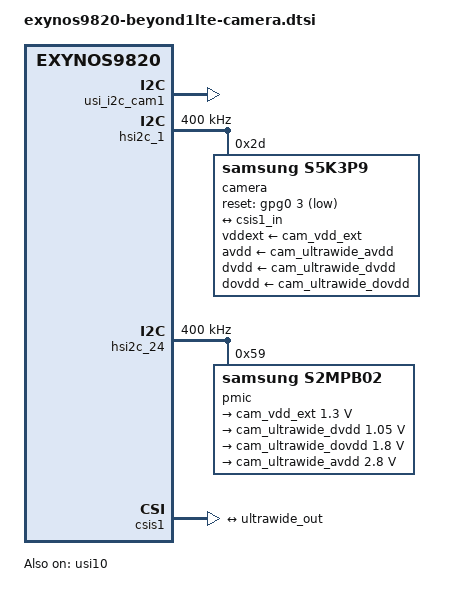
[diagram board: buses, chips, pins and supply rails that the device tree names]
// SPDX-License-Identifier: GPL-2.0
/*
 * Galaxy S10 cameras: NOT INCLUDED, the boot hangs with this (CAMERA.md,
 * "Paused"). To try again, include it at the end of exynos9820-beyond1lte.dts
 * and boot from RAM only (scripts/fastboot-boot.sh), never from /boot/ztos.
 */

#include "exynos9820-camera.dtsi"

/*
 * Cameras, step 2 of CAMERA.md: the rear ultrawide only. Every value below
 * was checked against all revisions of this phone's stock dtbo (bus hsi2c_1
 * at 0x2d, MCLK channel 3 on gpc1-7, reset gpg0-3, S2MPB02 at 0x59 on
 * hsi2c_24, and the four rails with their voltages); they are the S10e's.
 * Of the S2MPB02 only these four rails are described, so the others keep
 * what S-Boot set.
 */
&usi_i2c_cam1 {
	samsung,mode = <USI_MODE_I2C>;
	status = "okay";
};

&hsi2c_1 {
	clock-frequency = <400000>;
	pinctrl-names = "default";
	pinctrl-0 = <&hsi2c1_bus>;
	status = "okay";

	camera@2d {
		compatible = "samsung,s5k3p9";
		reg = <0x2d>;
		pinctrl-names = "default";
		pinctrl-0 = <&cam_mclk3>;
		clocks = <&cmu_top CLK_DOUT_CMU_CIS_CLK3>;
		reset-gpios = <&gpg0 3 GPIO_ACTIVE_LOW>;
		vddext-supply = <&cam_vdd_ext>;
		avdd-supply = <&cam_ultrawide_avdd>;
		dvdd-supply = <&cam_ultrawide_dvdd>;
		dovdd-supply = <&cam_ultrawide_dovdd>;
		orientation = <1>;

		port {
			ultrawide_out: endpoint {
				remote-endpoint = <&csis1_in>;
				data-lanes = <1 2 3 4>;
				link-frequencies = /bits/ 64 <1027000000>;
			};
		};
	};
};

&usi10 {
	samsung,mode = <USI_MODE_I2C>;
	status = "okay";
};

&hsi2c_24 {
	clock-frequency = <400000>;
	pinctrl-names = "default";
	pinctrl-0 = <&hsi2c24_bus>;
	status = "okay";

	pmic@59 {
		compatible = "samsung,s2mpb02";
		reg = <0x59>;

		regulators {
			cam_vdd_ext: buck2 {
				regulator-name = "VDD_EXT_1P3_PB02";
				regulator-min-microvolt = <1300000>;
				regulator-max-microvolt = <1300000>;
			};

			cam_ultrawide_dvdd: ldo4 {
				regulator-name = "VDDD_1.05V_WIDESUB";
				regulator-min-microvolt = <1050000>;
				regulator-max-microvolt = <1050000>;
			};

			cam_ultrawide_dovdd: ldo8 {
				regulator-name = "VDDIO_1.8V_WIDESUB";
				regulator-min-microvolt = <1800000>;
				regulator-max-microvolt = <1800000>;
			};

			cam_ultrawide_avdd: ldo15 {
				regulator-name = "VDDA_2.8V_WIDESUB";
				regulator-min-microvolt = <2800000>;
				regulator-max-microvolt = <2800000>;
			};
		};
	};
};

&csis1 {
	status = "okay";

	port {
		csis1_in: endpoint {
			remote-endpoint = <&ultrawide_out>;
			data-lanes = <1 2 3 4>;
		};
	};
};
